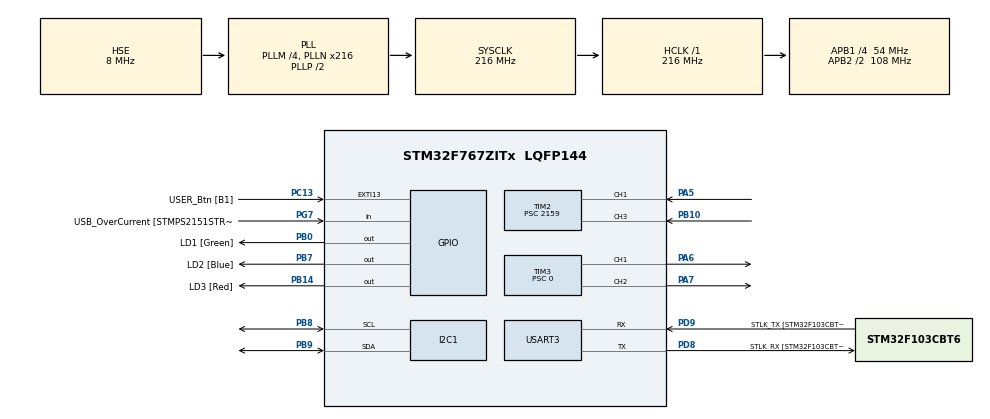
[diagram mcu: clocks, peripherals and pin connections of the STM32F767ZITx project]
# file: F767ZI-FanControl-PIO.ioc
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ARM.CMSIS-DSP.1.15.0.CMSISJjDSP=Source
ARM.CMSIS.6.0.0.CMSISJjCORE=true
Dma.I2C1_RX.0.Direction=DMA_PERIPH_TO_MEMORY
Dma.I2C1_RX.0.FIFOMode=DMA_FIFOMODE_DISABLE
Dma.I2C1_RX.0.Instance=DMA1_Stream0
Dma.I2C1_RX.0.MemDataAlignment=DMA_MDATAALIGN_BYTE
Dma.I2C1_RX.0.MemInc=DMA_MINC_ENABLE
Dma.I2C1_RX.0.Mode=DMA_NORMAL
Dma.I2C1_RX.0.PeriphDataAlignment=DMA_PDATAALIGN_BYTE
Dma.I2C1_RX.0.PeriphInc=DMA_PINC_DISABLE
Dma.I2C1_RX.0.Priority=DMA_PRIORITY_LOW
Dma.I2C1_TX.1.Direction=DMA_MEMORY_TO_PERIPH
Dma.I2C1_TX.1.FIFOMode=DMA_FIFOMODE_DISABLE
Dma.I2C1_TX.1.Instance=DMA1_Stream6
Dma.I2C1_TX.1.MemDataAlignment=DMA_MDATAALIGN_BYTE
Dma.I2C1_TX.1.MemInc=DMA_MINC_ENABLE
Dma.I2C1_TX.1.Mode=DMA_NORMAL
Dma.I2C1_TX.1.PeriphDataAlignment=DMA_PDATAALIGN_BYTE
Dma.I2C1_TX.1.PeriphInc=DMA_PINC_DISABLE
Dma.I2C1_TX.1.Priority=DMA_PRIORITY_LOW
Dma.Request0=I2C1_RX
Dma.Request1=I2C1_TX
Dma.Request2=USART3_RX
Dma.Request3=USART3_TX
Dma.USART3_RX.2.Direction=DMA_PERIPH_TO_MEMORY
Dma.USART3_RX.2.FIFOMode=DMA_FIFOMODE_DISABLE
Dma.USART3_RX.2.Instance=DMA1_Stream1
Dma.USART3_RX.2.MemDataAlignment=DMA_MDATAALIGN_BYTE
Dma.USART3_RX.2.MemInc=DMA_MINC_ENABLE
Dma.USART3_RX.2.Mode=DMA_NORMAL
Dma.USART3_RX.2.PeriphDataAlignment=DMA_PDATAALIGN_BYTE
Dma.USART3_RX.2.PeriphInc=DMA_PINC_DISABLE
Dma.USART3_RX.2.Priority=DMA_PRIORITY_LOW
Dma.USART3_TX.3.Direction=DMA_MEMORY_TO_PERIPH
Dma.USART3_TX.3.FIFOMode=DMA_FIFOMODE_DISABLE
Dma.USART3_TX.3.Instance=DMA1_Stream3
Dma.USART3_TX.3.MemDataAlignment=DMA_MDATAALIGN_BYTE
Dma.USART3_TX.3.MemInc=DMA_MINC_ENABLE
Dma.USART3_TX.3.Mode=DMA_NORMAL
Dma.USART3_TX.3.PeriphDataAlignment=DMA_PDATAALIGN_BYTE
Dma.USART3_TX.3.PeriphInc=DMA_PINC_DISABLE
Dma.USART3_TX.3.Priority=DMA_PRIORITY_LOW
I2C1.Timing=0x20404768
Mcu.Family=STM32F7
Mcu.Name=STM32F767ZITx
Mcu.Package=LQFP144
NVIC.DMA1_Stream0_IRQn=true\:0\:0\:false\:false\:true\:false\:true\:true
NVIC.DMA1_Stream1_IRQn=true\:0\:0\:false\:false\:true\:false\:true\:true
NVIC.DMA1_Stream3_IRQn=true\:0\:0\:false\:false\:true\:false\:true\:true
NVIC.DMA1_Stream6_IRQn=true\:0\:0\:false\:false\:true\:false\:true\:true
NVIC.I2C1_ER_IRQn=true\:0\:0\:false\:false\:true\:true\:true\:true
NVIC.I2C1_EV_IRQn=true\:0\:0\:false\:false\:true\:true\:true\:true
NVIC.PriorityGroup=NVIC_PRIORITYGROUP_4
NVIC.TIM2_IRQn=true\:0\:0\:false\:false\:true\:true\:true\:true
NVIC.TIM3_IRQn=true\:0\:0\:false\:false\:true\:true\:true\:true
NVIC.TIM5_IRQn=true\:0\:0\:false\:false\:true\:true\:true\:true
NVIC.TIM8_UP_TIM13_IRQn=true\:15\:0\:false\:false\:true\:false\:true\:true
NVIC.TimeBase=TIM8_UP_TIM13_IRQn
NVIC.TimeBaseIP=TIM8
NVIC.USART3_IRQn=true\:0\:0\:false\:false\:true\:true\:true\:true
PA13.GPIO_Label=TMS
PA13.Mode=Trace_Asynchronous_SW
PA13.Signal=SYS_JTMS-SWDIO
PA14.GPIO_Label=TCK
PA14.Mode=Trace_Asynchronous_SW
PA14.Signal=SYS_JTCK-SWCLK
PA5.Signal=S_TIM2_CH1_ETR
PA6.Signal=S_TIM3_CH1
PA7.Signal=S_TIM3_CH2
PB0.GPIO_Label=LD1 [Green]
PB0.Signal=GPIO_Output
PB10.Signal=S_TIM2_CH3
PB14.GPIO_Label=LD3 [Red]
PB14.Signal=GPIO_Output
PB3.Mode=Trace_Asynchronous_SW
PB3.Signal=SYS_JTDO-SWO
PB7.GPIO_Label=LD2 [Blue]
PB7.Signal=GPIO_Output
PB8.GPIO_Pu=GPIO_NOPULL
PB8.Mode=I2C
PB8.Signal=I2C1_SCL
PB9.GPIO_Pu=GPIO_NOPULL
PB9.Mode=I2C
PB9.Signal=I2C1_SDA
PC13.GPIO_Label=USER_Btn [B1]
PC13.Signal=GPXTI13
PC14/OSC32_IN.Mode=LSE-External-Oscillator
PC14/OSC32_IN.Signal=RCC_OSC32_IN
PC15/OSC32_OUT.Mode=LSE-External-Oscillator
PC15/OSC32_OUT.Signal=RCC_OSC32_OUT
PD8.GPIO_Label=STLK_RX [STM32F103CBT6_PA3]
PD8.Mode=Asynchronous
PD8.Signal=USART3_TX
PD9.GPIO_Label=STLK_TX [STM32F103CBT6_PA2]
PD9.Mode=Asynchronous
PD9.Signal=USART3_RX
PG7.GPIO_Label=USB_OverCurrent [STMPS2151STR_FAULT]
PG7.Signal=GPIO_Input
PH0/OSC_IN.GPIO_Label=MCO [STM32F103CBT6_PA8]
PH0/OSC_IN.Mode=HSE-External-Clock-Source
PH0/OSC_IN.Signal=RCC_OSC_IN
PH1/OSC_OUT.Mode=HSE-External-Clock-Source
PH1/OSC_OUT.Signal=RCC_OSC_OUT
ProjectManager.HeapSize=0x200
ProjectManager.StackSize=0x400
ProjectManager.TargetToolchain=STM32CubeIDE
RCC.48MHZClocksFreq_Value=24000000
RCC.AHBFreq_Value=216000000
RCC.APB1CLKDivider=RCC_HCLK_DIV4
RCC.APB1Freq_Value=54000000
RCC.APB1TimFreq_Value=108000000
RCC.APB2CLKDivider=RCC_HCLK_DIV2
RCC.APB2Freq_Value=108000000
RCC.APB2TimFreq_Value=216000000
RCC.CortexFreq_Value=216000000
RCC.HCLKFreq_Value=216000000
RCC.HSE_VALUE=8000000
RCC.HSI_VALUE=16000000
RCC.PLLM=4
RCC.PLLMUL=RCC_PLL_MUL9
RCC.PLLN=216
RCC.PLLQ=4
RCC.PLLSourceVirtual=RCC_PLLSOURCE_HSE
RCC.PRESCALERUSB=RCC_USBCLKSOURCE_PLL_DIV1_5
RCC.SYSCLKFreq_VALUE=216000000
RCC.SYSCLKSource=RCC_SYSCLKSOURCE_PLLCLK
RCC.SYSCLKSourceVirtual=RCC_SYSCLKSOURCE_PLLCLK
RCC.USBFreq_Value=108000000
RCC.VCOOutputFreq_Value=432000000
SH.S_TIM2_CH1_ETR.0=TIM2_CH1,Input_Capture1_from_TI1
SH.S_TIM2_CH3.0=TIM2_CH3,Input_Capture3_from_TI3
SH.S_TIM3_CH1.0=TIM3_CH1,PWM Generation1 CH1
SH.S_TIM3_CH2.0=TIM3_CH2,PWM Generation2 CH2
TIM2.AutoReloadPreload=TIM_AUTORELOAD_PRELOAD_ENABLE
TIM2.Channel-Input_Capture1_from_TI1=TIM_CHANNEL_1
TIM2.Channel-Input_Capture3_from_TI3=TIM_CHANNEL_3
TIM2.ICPolarity_CH1=TIM_INPUTCHANNELPOLARITY_RISING
TIM2.ICPolarity_CH3=TIM_INPUTCHANNELPOLARITY_RISING
TIM2.Period=4294967295
TIM2.Prescaler=2159
TIM3.AutoReloadPreload=TIM_AUTORELOAD_PRELOAD_ENABLE
TIM3.Channel-PWM\ Generation1\ CH1=TIM_CHANNEL_1
TIM3.Channel-PWM\ Generation2\ CH2=TIM_CHANNEL_2
TIM3.Period=4319
TIM3.Prescaler=0
TIM5.AutoReloadPreload=TIM_AUTORELOAD_PRELOAD_ENABLE
TIM5.Period=42949672
TIM5.Prescaler=1
TIM7.Prescaler=107
USART3.VirtualMode-Asynchronous=VM_ASYNC
VP_ARM.CMSIS-DSP_VS_CMSISJjDSP_1.15.0_1.15.0.Mode=CMSISJjDSP
VP_ARM.CMSIS_VS_CMSISJjCORE_6.0.0_6.0.0.Mode=CMSISJjCORE
VP_SYS_VS_tim8.Mode=TIM8
VP_TIM2_VS_ClockSourceINT.Mode=Internal
VP_TIM3_VS_ClockSourceINT.Mode=Internal
VP_TIM5_VS_ClockSourceINT.Mode=Internal
VP_TIM7_VS_ClockSourceINT.Mode=Enable_Timer
board=NUCLEO-F767ZI

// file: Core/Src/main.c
/* USER CODE BEGIN Header */
/**
  ******************************************************************************
  * @file           : main.c
  * @brief          : Main program body
  ******************************************************************************
  * @attention
  *
  * Copyright (c) 2024 STMicroelectronics.
  * All rights reserved.
  *
  * This software is licensed under terms that can be found in the LICENSE file
  * in the root directory of this software component.
  * If no LICENSE file comes with this software, it is provided AS-IS.
  *
  ******************************************************************************
  */
/* USER CODE END Header */
#include "main.h"
#include "dma.h"
#include "i2c.h"
#include "tim.h"
#include "usart.h"
#include "gpio.h"

/* USER CODE BEGIN Includes */
#include "bmp280.h"
#include "lcd.h"
#include "lcd_config.h"
#include "pwm_fan.h"
#include "pwm_fan_conf.h"
#include "serial.h"
#include "serial_conf.h"
#include "strhelp.h"
#include "lcdal.h"
#include "temp.h"

/* USER CODE END Includes */

/* USER CODE BEGIN PV */

char usart_data[SERIAL_MSG_LEN];

uint16_t fan1_speed = 0;
uint16_t fan2_speed = 0;
/* USER CODE END PV */

void SystemClock_Config(void);

int main(void)
{

  /* MCU Configuration--------------------------------------------------------*/

  /* Reset of all peripherals, Initializes the Flash interface and the Systick. */
  HAL_Init();

  /* Configure the system clock */
  SystemClock_Config();

  /* Initialize all configured peripherals */
  MX_GPIO_Init();
  MX_DMA_Init();
  MX_I2C1_Init();
  MX_USART3_UART_Init();
  MX_TIM3_Init();
  MX_TIM5_Init();
  MX_TIM2_Init();
  MX_TIM7_Init();
  /* USER CODE BEGIN 2 */

  // start all the timers
  HAL_TIM_Base_Start_IT(&htim2);
  HAL_TIM_Base_Start_IT(&htim3);
  HAL_TIM_Base_Start_IT(&htim5);

  // initialize I2C display
  LCD_I2C_Init(&hlcd3);
  prepare_display();

  // Initialize BMP280 sensor
  bmp_init();

  // initialize fans
  pwm_fan_init(&fan1, &htim3, &htim2, TIM_CHANNEL_1, TIM_CHANNEL_1);
  pwm_fan_schedule_calibration(&fan1);

  pwm_fan_init(&fan2, &htim3, &htim2, TIM_CHANNEL_2, TIM_CHANNEL_3);
  pwm_fan_schedule_calibration(&fan2);

  // Start serial output timer
  HAL_TIM_PWM_Start_IT(&htim5, TIM_CHANNEL_1);

  // Make UART listen for commands
  // HAL_UART_Receive_IT(&huart3, usart_data, SERIAL_MSG_LEN);
  HAL_UARTEx_ReceiveToIdle_DMA(&huart3, usart_data, SERIAL_MSG_LEN);

  /* USER CODE END 2 */

  /* Infinite loop */
  while (1)
  {

  }
}

void SystemClock_Config(void)
{
  RCC_OscInitTypeDef RCC_OscInitStruct = {0};
  RCC_ClkInitTypeDef RCC_ClkInitStruct = {0};

  /** Configure LSE Drive Capability
  */
  HAL_PWR_EnableBkUpAccess();

  /** Configure the main internal regulator output voltage
  */
  __HAL_RCC_PWR_CLK_ENABLE();
  __HAL_PWR_VOLTAGESCALING_CONFIG(PWR_REGULATOR_VOLTAGE_SCALE1);

  /** Initializes the RCC Oscillators according to the specified parameters
  * in the RCC_OscInitTypeDef structure.
  */
  RCC_OscInitStruct.OscillatorType = RCC_OSCILLATORTYPE_HSE;
  RCC_OscInitStruct.HSEState = RCC_HSE_BYPASS;
  RCC_OscInitStruct.PLL.PLLState = RCC_PLL_ON;
  RCC_OscInitStruct.PLL.PLLSource = RCC_PLLSOURCE_HSE;
  RCC_OscInitStruct.PLL.PLLM = 4;
  RCC_OscInitStruct.PLL.PLLN = 216;
  RCC_OscInitStruct.PLL.PLLP = RCC_PLLP_DIV2;
  RCC_OscInitStruct.PLL.PLLQ = 4;
  RCC_OscInitStruct.PLL.PLLR = 2;
  if (HAL_RCC_OscConfig(&RCC_OscInitStruct) != HAL_OK)
  {
    Error_Handler();
  }

  /** Activate the Over-Drive mode
  */
  if (HAL_PWREx_EnableOverDrive() != HAL_OK)
  {
    Error_Handler();
  }

  /** Initializes the CPU, AHB and APB buses clocks
  */
  RCC_ClkInitStruct.ClockType = RCC_CLOCKTYPE_HCLK|RCC_CLOCKTYPE_SYSCLK
                              |RCC_CLOCKTYPE_PCLK1|RCC_CLOCKTYPE_PCLK2;
  RCC_ClkInitStruct.SYSCLKSource = RCC_SYSCLKSOURCE_PLLCLK;
  RCC_ClkInitStruct.AHBCLKDivider = RCC_SYSCLK_DIV1;
  RCC_ClkInitStruct.APB1CLKDivider = RCC_HCLK_DIV4;
  RCC_ClkInitStruct.APB2CLKDivider = RCC_HCLK_DIV2;

  if (HAL_RCC_ClockConfig(&RCC_ClkInitStruct, FLASH_LATENCY_7) != HAL_OK)
  {
    Error_Handler();
  }
}

/* USER CODE BEGIN 4 */
/**
  * @brief  Rx Transfer completed callback.
  * @param  huart UART handle.
  * @retval None
  */
void HAL_UARTEx_RxEventCallback(UART_HandleTypeDef *huart, uint16_t size)
{
  if(huart == &huart3)
  {
	// just shamelessly call this and pass it there, bad idea but works(tm)
    serial_recv(&huart3, usart_data, size);

    // await next msg
    HAL_UARTEx_ReceiveToIdle_DMA(&huart3, usart_data, SERIAL_MSG_LEN);
  }
}

/**
  * @brief  TIM capture callback
  * @note   Called every time the timer grabs a revolution of the fan
  * @param  None
  * @retval None
  */
void HAL_TIM_IC_CaptureCallback(TIM_HandleTypeDef *htim) {
	// This is pure insanity, don't you ever dare do it like this
	if(htim->Instance == TIM2) {
		if(htim->Channel == HAL_TIM_ACTIVE_CHANNEL_1) {
			//HAL_GPIO_TogglePin(LD1_GPIO_Port, LD1_Pin);
			pwm_fan_update_speed(&fan1);
		}
		if(htim->Channel == HAL_TIM_ACTIVE_CHANNEL_3)
			//HAL_GPIO_TogglePin(LD2_GPIO_Port, LD2_Pin);
			pwm_fan_update_speed(&fan2);
	}
}

/* USER CODE END 4 */

void HAL_TIM_PeriodElapsedCallback(TIM_HandleTypeDef *htim)
{
  /* USER CODE BEGIN Callback 0 */

	if (htim->Instance == TIM5) {
	    fan1_speed = pwm_fan_update(&fan1);
	    fan2_speed = pwm_fan_update(&fan2);

	    grab_bmp_measurement();
	    serial_post_sensors();
	    update_display();
	  }

  /* USER CODE END Callback 0 */
  if (htim->Instance == TIM8) {
    HAL_IncTick();
  }
}

void Error_Handler(void)
{
  __disable_irq();
  while (1)
  {
  }
}
